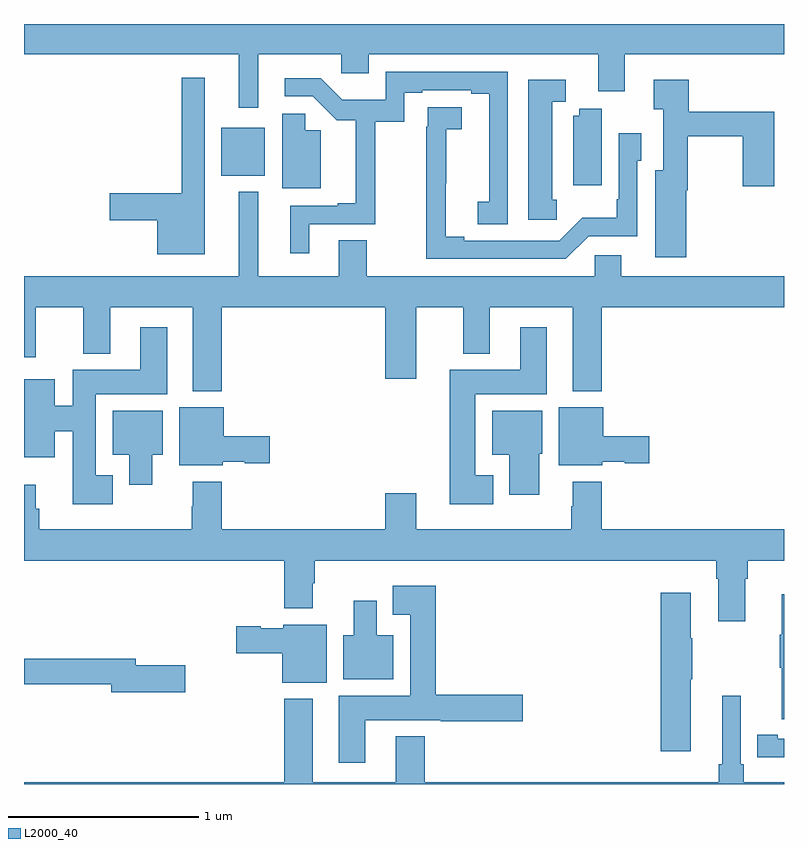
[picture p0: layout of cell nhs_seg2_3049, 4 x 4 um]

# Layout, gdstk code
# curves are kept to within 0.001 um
import gdstk
lib = gdstk.Library(unit=1e-6, precision=1e-09)
def R(c, l, rs):  # rectangles x0, y0, x1, y1
    for r in rs: c.add(gdstk.rectangle(r[:2], r[2:], *l))
def P(c, l, *ps):  # polygons
    for p in ps: c.add(gdstk.Polygon(p, *l))
L2000_40 = (2000, 40)

nhs_seg2_3049 = lib.new_cell('nhs_seg2_3049')
R(nhs_seg2_3049, L2000_40, [(272.039,643.001,272.266,643.255)])
P(nhs_seg2_3049, L2000_40, [(272.233,643.64),(272.669,643.64),(272.669,643.542),(272.815,643.542),(272.815,643.64),(274.022,643.64),(274.022,643.446),(274.162,643.446),(274.162,643.64),(275,643.64),(275,643.8),(271,643.8),(271,643.64),(272.129,643.64),(272.129,643.359),(272.233,643.359)],
  [(272.5,642.747),(272.849,642.747),(272.849,643.285),(273,643.285),(273,643.438),(273.097,643.438),(273.097,643.452),(273.353,643.452),(273.353,643.432),(273.449,643.432),(273.448,642.865),(273.387,642.865),(273.387,642.745),(273.546,642.745),(273.546,643.548),(272.904,643.548),(272.904,643.402),(272.675,643.402),(272.562,643.515),(272.373,643.515),(272.373,643.419),(272.52,643.419),(272.647,643.293),(272.747,643.293),(272.747,642.856),(272.651,642.856),(272.651,642.843),(272.402,642.843),(272.402,642.594),(272.5,642.594)],
  [(271.951,643.516),(271.83,643.516),(271.83,642.908),(271.452,642.908),(271.452,642.766),(271.7,642.766),(271.7,642.587),(271.951,642.587)],
  [(274.486,642.926),(274.494,642.926),(274.494,643.21),(274.783,643.21),(274.783,642.945),(274.948,642.945),(274.948,643.339),(274.499,643.339),(274.499,643.507),(274.314,643.507),(274.314,643.351),(274.364,643.351),(274.364,643.03),(274.322,643.03),(274.322,642.573),(274.486,642.573)],
  [(273.803,642.876),(273.781,642.876),(273.781,643.392),(273.85,643.392),(273.85,643.507),(273.653,643.507),(273.653,642.771),(273.803,642.771)],
  [(273.972,642.684),(274.227,642.684),(274.227,643.08),(274.248,643.08),(274.248,643.225),(274.131,643.225),(274.131,642.877),(274.119,642.877),(274.119,642.781),(273.937,642.781),(273.816,642.66),(273.316,642.66),(273.316,642.68),(273.22,642.68),(273.222,643.246),(273.304,643.246),(273.304,643.361),(273.124,643.361),(273.124,643.259),(273.118,643.259),(273.118,642.564),(273.852,642.564)],
  [(274.042,643.355),(273.922,643.355),(273.922,643.318),(273.89,643.318),(273.89,642.951),(274.042,642.951)],
  [(272.563,643.24),(272.481,643.24),(272.481,643.327),(272.36,643.327),(272.36,642.935),(272.563,642.935)],
  [(272.042,642.308),(272.9,642.308),(272.9,641.934),(273.064,641.934),(273.064,642.308),(273.311,642.308),(273.311,642.065),(273.451,642.065),(273.451,642.308),(273.887,642.308),(273.887,641.867),(274.04,641.867),(274.04,642.308),(275,642.308),(275,642.472),(274.144,642.472),(274.144,642.582),(274.005,642.582),(274.005,642.472),(272.805,642.472),(272.805,642.662),(272.657,642.662),(272.657,642.472),(272.233,642.472),(272.233,642.916),(272.129,642.916),(272.129,642.472),(271,642.472),(271,642.045),(271.062,642.045),(271.062,642.308),(271.313,642.308),(271.313,642.065),(271.453,642.065),(271.453,642.308),(271.889,642.308),(271.889,641.867),(272.042,641.867)],
  [(271.468,641.425),(271.378,641.425),(271.378,641.852),(271.753,641.852),(271.753,642.205),(271.613,642.205),(271.613,641.98),(271.256,641.98),(271.256,641.792),(271.162,641.792),(271.162,641.929),(271,641.929),(271,641.519),(271.162,641.519),(271.162,641.656),(271.256,641.656),(271.256,641.273),(271.468,641.273)],
  [(273.469,641.425),(273.376,641.425),(273.376,641.852),(273.751,641.852),(273.751,642.205),(273.611,642.205),(273.611,641.98),(273.242,641.98),(273.242,641.273),(273.469,641.273)],
  [(272.046,641.495),(272.163,641.495),(272.163,641.488),(272.293,641.488),(272.293,641.63),(272.05,641.63),(272.05,641.782),(271.817,641.782),(271.817,641.477),(272.046,641.477)],
  [(274.044,641.495),(274.161,641.495),(274.161,641.488),(274.291,641.488),(274.291,641.63),(274.048,641.63),(274.048,641.782),(273.815,641.782),(273.815,641.477),(274.044,641.477)],
  [(273.712,641.538),(273.727,641.538),(273.727,641.764),(273.464,641.764),(273.464,641.534),(273.554,641.534),(273.554,641.322),(273.712,641.322)],
  [(271.675,641.534),(271.729,641.534),(271.729,641.764),(271.466,641.764),(271.466,641.534),(271.553,641.534),(271.553,641.376),(271.675,641.376)],
  [(272.042,641.392),(271.889,641.392),(271.889,641.261),(271.882,641.261),(271.882,641.14),(271.079,641.14),(271.079,641.249),(271.061,641.249),(271.061,641.374),(271,641.374),(271,640.976),(272.369,640.976),(272.369,640.724),(272.521,640.724),(272.521,640.856),(272.529,640.856),(272.529,640.976),(274.643,640.976),(274.643,640.88),(274.655,640.88),(274.655,640.656),(274.795,640.656),(274.795,640.88),(274.808,640.88),(274.808,640.976),(275,640.976),(275,641.14),(274.04,641.14),(274.04,641.392),(273.887,641.392),(273.887,641.261),(273.88,641.261),(273.88,641.14),(273.064,641.14),(273.064,641.329),(272.9,641.329),(272.9,641.14),(272.042,641.14)],
  [(272.797,640.136),(273.193,640.136),(273.193,640.129),(273.625,640.129),(273.625,640.271),(273.167,640.271),(273.167,640.843),(272.942,640.843),(272.942,640.691),(273.032,640.691),(273.032,640.264),(272.657,640.264),(272.657,639.912),(272.797,639.912)],
  [(274.51,640.351),(274.518,640.351),(274.518,640.568),(274.51,640.568),(274.51,640.807),(274.352,640.807),(274.352,639.972),(274.51,639.972)],
  [(275,640.798),(274.988,640.798),(274.988,640.585),(274.977,640.585),(274.977,640.411),(274.988,640.411),(274.988,640.14),(275,640.14)],
  [(272.944,640.582),(272.857,640.582),(272.857,640.765),(272.735,640.765),(272.735,640.582),(272.681,640.582),(272.681,640.352),(272.944,640.352)],
  [(272.593,640.639),(272.364,640.639),(272.364,640.621),(272.247,640.621),(272.247,640.629),(272.118,640.629),(272.118,640.487),(272.36,640.487),(272.36,640.334),(272.593,640.334)],
  [(271.849,640.424),(271.588,640.424),(271.588,640.46),(271,640.46),(271,640.324),(271.46,640.324),(271.46,640.282),(271.849,640.282)],
  [(275,639.808),(274.787,639.808),(274.787,639.904),(274.773,639.904),(274.773,640.264),(274.676,640.264),(274.676,639.904),(274.657,639.904),(274.657,639.808),(273.11,639.808),(273.11,640.051),(272.957,640.051),(272.957,639.808),(272.521,639.808),(272.521,640.249),(272.369,640.249),(272.369,639.808),(271,639.808),(271,639.8),(275,639.8)],
  [(275,640.038),(274.966,640.038),(274.966,640.058),(274.858,640.058),(274.858,639.942),(274.966,639.942),(274.966,639.941),(275,639.941)])

lib.write_gds('nhs_seg2_3049.gds')
